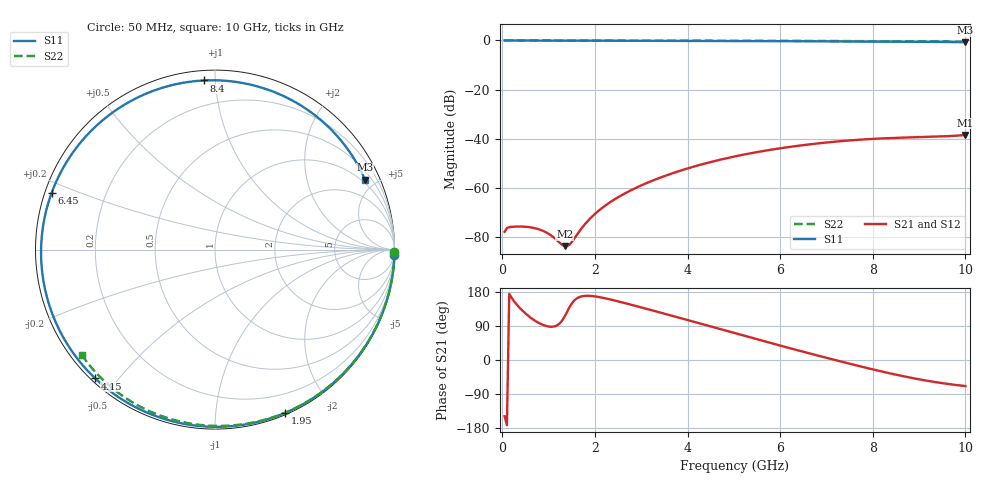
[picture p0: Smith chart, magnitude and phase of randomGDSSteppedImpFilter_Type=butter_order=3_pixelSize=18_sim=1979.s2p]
! freq	dB(S11)	phase(S11)	dB(S12)	phase(S12)
!  dB(S21)	phase(S21)	dB(S22)	phase(S22)
!S-par simulation data
#  GHz  S  DB  R 50
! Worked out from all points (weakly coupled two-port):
!   200 points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, 50 MHz to 10 GHz, reference 50 ohm
!   highest |S21| = -38.47 dB at 10 GHz (marker M1); lowest = -83.7 dB at 1.35 GHz (marker M2)
!   lowest |S11| = -0.7 dB at 10 GHz (marker M3), VSWR 24.67, Z = 41.9 + j218 ohm
!   |S11| at or under -10 dB: nowhere
!   |S22| runs from -0.5 to 0.0 dB; largest |S21 - S12| = 0
!   S11 on the Smith chart (normalised r, x): 50 MHz: 0, -65; 1.95 GHz: 0.02, -1.52; 4.15 GHz: 0.01, -0.44; 6.45 GHz: 0.02, +0.17; 8.4 GHz: 0.05, +0.93; 10 GHz: 0.84, +4.36
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0.05  -0.00 -1.8  -77.86 -148.3  -77.86 -148.3  -0.00 -0.8
0.15  -0.00 -5.3  -75.99 174.5  -75.99 174.5  -0.00 -2.5
0.5  -0.02 -17.7  -75.81 122.9  -75.81 122.9  -0.01 -8.2
0.85  -0.03 -29.9  -77.24 94.2  -77.24 94.2  -0.01 -13.9
1.1  -0.05 -38.5  -80.00 88.1  -80.00 88.1  -0.02 -17.9
1.35  -0.06 -46.9  -83.71 115.7  -83.71 115.7  -0.03 -21.9
1.55  -0.07 -53.6  -80.74 156.5  -80.74 156.5  -0.03 -25.1
1.75  -0.08 -60.2  -75.54 168.8  -75.54 168.8  -0.04 -28.3
1.95  -0.08 -66.7  -71.46 168.7  -71.46 168.7  -0.04 -31.4
2.55  -0.11 -85.7  -63.25 153.2  -63.25 153.2  -0.05 -40.8
3.4  -0.14 -111.3  -55.90 125.6  -55.90 125.6  -0.07 -53.8
4.15  -0.17 -132.9  -51.25 100.4  -51.25 100.4  -0.09 -64.8
5.05  -0.22 -158.4  -47.07 69.7  -47.07 69.7  -0.12 -77.6
5.75  -0.27 -178.4  -44.62 46.2  -44.62 46.2  -0.15 -87.3
6.45  -0.32 160.7  -42.71 23.3  -42.71 23.3  -0.18 -96.6
6.7  -0.34 153.0  -42.14 15.3  -42.14 15.3  -0.19 -99.9
7.6  -0.42 123.3  -40.53 -12.9  -40.53 -12.9  -0.25 -111.5
8.35  -0.49 95.8  -39.74 -34.7  -39.74 -34.7  -0.31 -121.0
8.4  -0.50 93.9  -39.70 -36.0  -39.70 -36.0  -0.31 -121.6
8.8  -0.54 77.9  -39.46 -46.3  -39.46 -46.3  -0.35 -126.6
9.2  -0.58 61.1  -39.24 -55.3  -39.24 -55.3  -0.39 -131.6
10  -0.70 25.0  -38.47 -68.8  -38.47 -68.8  -0.48 -141.5
